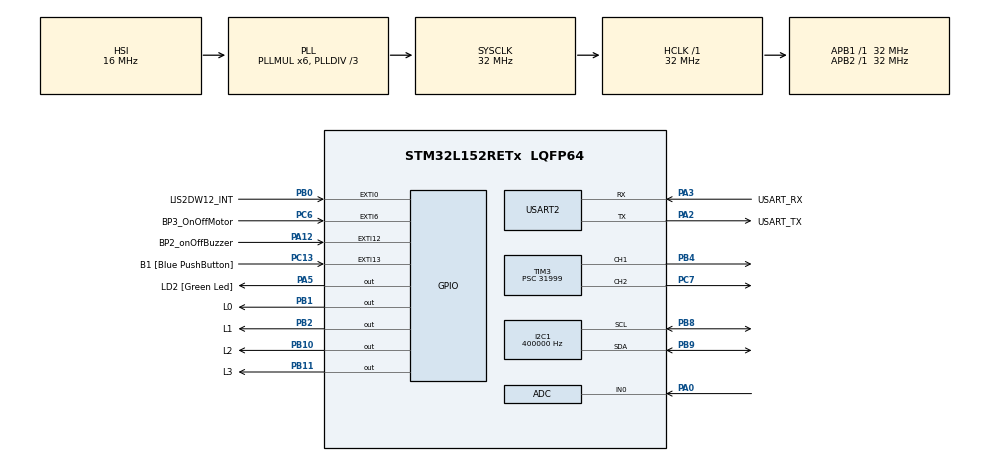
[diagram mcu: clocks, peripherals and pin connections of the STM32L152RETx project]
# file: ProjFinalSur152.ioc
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ADC.Channel-0\#ChannelRegularConversion=ADC_CHANNEL_0
ADC.EnableAnalogWatchDog=true
ADC.HighThreshold=3724
ADC.NbrOfConversionFlag=1
ADC.Rank-0\#ChannelRegularConversion=1
ADC.SamplingTime-0\#ChannelRegularConversion=ADC_SAMPLETIME_4CYCLES
I2C1.ClockSpeed=400000
I2C1.I2C_Mode=I2C_Fast
Mcu.Family=STM32L1
Mcu.Name=STM32L152RETx
Mcu.Package=LQFP64
NVIC.ADC1_IRQn=true\:0\:0\:false\:false\:true\:true\:true\:true
NVIC.EXTI0_IRQn=true\:0\:0\:false\:false\:true\:true\:true\:true
NVIC.EXTI15_10_IRQn=true\:0\:0\:false\:false\:true\:true\:true\:true
NVIC.EXTI9_5_IRQn=true\:0\:0\:false\:false\:true\:true\:true\:true
NVIC.PriorityGroup=NVIC_PRIORITYGROUP_0
NVIC.TIM3_IRQn=true\:0\:0\:false\:false\:true\:true\:true\:true
NVIC.TIM6_IRQn=true\:0\:0\:false\:false\:true\:true\:true\:true
PA0-WKUP1.Mode=IN0
PA0-WKUP1.Signal=ADC_IN0
PA12.GPIO_Label=BP2_onOffBuzzer
PA12.Signal=GPXTI12
PA13.GPIO_Label=TMS
PA13.Mode=Serial_Wire
PA13.Signal=SYS_JTMS-SWDIO
PA14.GPIO_Label=TCK
PA14.Mode=Serial_Wire
PA14.Signal=SYS_JTCK-SWCLK
PA2.GPIO_Label=USART_TX
PA2.Mode=Asynchronous
PA2.Signal=USART2_TX
PA3.GPIO_Label=USART_RX
PA3.Mode=Asynchronous
PA3.Signal=USART2_RX
PA5.GPIO_Label=LD2 [Green Led]
PA5.Signal=GPIO_Output
PB0.GPIO_Label=LIS2DW12_INT
PB0.Signal=GPXTI0
PB1.GPIO_Label=L0
PB1.Signal=GPIO_Output
PB10.GPIO_Label=L2
PB10.Signal=GPIO_Output
PB11.GPIO_Label=L3
PB11.Signal=GPIO_Output
PB2.GPIO_Label=L1
PB2.Signal=GPIO_Output
PB3.GPIO_Label=SWO
PB3.Signal=SYS_JTDO-TRACESWO
PB4.Signal=S_TIM3_CH1
PB8.Mode=I2C
PB8.Signal=I2C1_SCL
PB9.Mode=I2C
PB9.Signal=I2C1_SDA
PC13-WKUP2.GPIO_Label=B1 [Blue PushButton]
PC13-WKUP2.Signal=GPXTI13
PC6.GPIO_Label=BP3_OnOffMotor
PC6.Signal=GPXTI6
PC7.Signal=S_TIM3_CH2
ProjectManager.HeapSize=0x200
ProjectManager.StackSize=0x400
ProjectManager.TargetToolchain=STM32CubeIDE
RCC.48MHZClocksFreq_Value=48000000
RCC.AHBFreq_Value=32000000
RCC.APB1Freq_Value=32000000
RCC.APB1TimFreq_Value=32000000
RCC.APB2Freq_Value=32000000
RCC.APB2TimFreq_Value=32000000
RCC.HCLKFreq_Value=32000000
RCC.HSE_VALUE=8000000
RCC.HSI_VALUE=16000000
RCC.LSE_VALUE=32768
RCC.MSI_VALUE=2097000
RCC.PLLDIV=RCC_PLL_DIV3
RCC.PLLMUL=RCC_PLL_MUL6
RCC.RTCClockSelectionVirtual=RCC_RTCCLKSOURCE_LSE
RCC.SYSCLKFreq_VALUE=32000000
RCC.SYSCLKSource=RCC_SYSCLKSOURCE_PLLCLK
RCC.USBOutput=48000000
RCC.VCOOutputFreq_Value=96000000
SH.S_TIM3_CH1.0=TIM3_CH1,PWM Generation1 CH1
SH.S_TIM3_CH2.0=TIM3_CH2,PWM Generation2 CH2
TIM3.Channel-PWM\ Generation1\ CH1=TIM_CHANNEL_1
TIM3.Channel-PWM\ Generation2\ CH2=TIM_CHANNEL_2
TIM3.OCMode_PWM-PWM\ Generation2\ CH2=TIM_OCMODE_PWM1
TIM3.OCPolarity_2=TIM_OCPOLARITY_LOW
TIM3.Period=4
TIM3.Prescaler=31999
TIM3.Pulse-PWM\ Generation1\ CH1=500
TIM3.Pulse-PWM\ Generation2\ CH2=1
TIM6.Period=199
TIM6.Prescaler=31999
USART2.VirtualMode=VM_ASYNC
VP_TIM3_VS_ClockSourceINT.Mode=Internal
VP_TIM6_VS_ClockSourceINT.Mode=Enable_Timer
board=NUCLEO-L152RE

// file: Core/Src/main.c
/* USER CODE BEGIN Header */

/**
 ******************************************************************************
 * @file           : main.c
 * @brief          : Main program body
 ******************************************************************************
 * @attention
 *
 * Copyright (c) 2025 STMicroelectronics.
 * All rights reserved.
 *
 * This software is licensed under terms that can be found in the LICENSE file
 * in the root directory of this software component.
 * If no LICENSE file comes with this software, it is provided AS-IS.
 *
 ******************************************************************************
 */
/* USER CODE END Header */
#include "main.h"

/* USER CODE BEGIN Includes */
#include <string.h>
#include <stdio.h>
#include "lis2dw12_reg.h"
#include "knowledge.h"
#include "cycle_dwt.h"
#include "NanoEdgeAI.h"
/* USER CODE END Includes */

/* USER CODE BEGIN PD */
/************************************************************ NEAI algorithm defines begin ************************************************************/
/************************************************************ Global settings part ************************************************************/
#ifndef AXIS
#define AXIS              3                       /* Axis should be defined between 1 and 3 */
#endif
#ifndef SAMPLES
#define SAMPLES           128                     /* Should be between 16 & 4096 */
#endif
/************************************************************ Sensors configuration part ************************************************************/
#ifndef ACCELEROMETER_ODR
#define ACCELEROMETER_ODR  LIS2DW12_XL_ODR_400Hz  /* Shoud be between LIS2DW12_XL_ODR_12Hz5 and LIS2DW12_XL_ODR_1k6Hz */
#endif
#ifndef ACCELEROMETER_FS
#define ACCELEROMETER_FS   LIS2DW12_4g            /* Should be between LIS2DW12_2g and LIS2DW12_16g */
#endif
/************************************************************ Datalogger / NEAI mode part ************************************************************/
#ifndef NEAI_MODE
#define NEAI_MODE         1                       /* 0: Datalogger mode, 1: NEAI functions mode */
#endif
//#if (NEAI_MODE == 1)
//  #ifndef NEAI_LEARN_NB
//    #define NEAI_LEARN_NB   20                      /* Number of buffers to be learn by the NEAI library */
//  #endif
#if (NEAI_MODE)
#ifndef NB_CLASSES
#define NB_CLASSES  5/* Number of NEAI classes */
#endif
#endif
/************************************************************ NEAI algorithm defines end ************************************************************/
/* USER CODE END PD */

ADC_HandleTypeDef hadc;

I2C_HandleTypeDef hi2c1;

TIM_HandleTypeDef htim3;
TIM_HandleTypeDef htim6;

UART_HandleTypeDef huart2;

/* USER CODE BEGIN PV */

uint8_t flag_tim3 = 0;
uint8_t motorState = 0;
uint8_t motorOverride = 0;
uint8_t debound_flag = 0;
uint8_t buzzerState = 0;
uint8_t buzzerOverride = 0;
uint32_t digitalValue = 0;
uint8_t valeurLB = 0;

static int16_t data_raw_acceleration[3];
static uint8_t whoamI, rst;
uint8_t neai_similarity = 0, neai_state = 0, first_comm = 1;
uint16_t sample_index = 0, id_class = 0;
volatile uint8_t drdy = 0;
uint16_t neai_cnt = 0, drdy_counter = 0;
float neai_time = 0.0;
float neai_buffer[AXIS * SAMPLES] = { 0 };
stmdev_ctx_t dev_ctx;

#if (NEAI_MODE)
static float class_output_buffer[NB_CLASSES];
const char *id2class[NB_CLASSES + 1] = { "unknown", "vertical", "shake","Immobile", "Horizontale" };
#endif
/* USER CODE END PV */

void SystemClock_Config(void);
static void MX_GPIO_Init(void);
static void MX_USART2_UART_Init(void);
static void MX_I2C1_Init(void);
static void MX_TIM3_Init(void);
static void MX_TIM6_Init(void);
static void MX_ADC_Init(void);
/* USER CODE BEGIN PFP */
static int32_t platform_write(void *handle, uint8_t reg, const uint8_t *bufp,
		uint16_t len);
static int32_t platform_read(void *handle, uint8_t reg, uint8_t *bufp,
		uint16_t len);
static void lis2dw12_initialize(void);
static float lis2dw12_convert_data_to_mg(int16_t accel_raw_data);
static void iks01a3_i2c_stuck_quirk(void);
/* USER CODE END PFP */

/* USER CODE BEGIN 0 */

//RESOLU adc probleme arrete boucle infinie a une certaine value
void adcFunctionXblinking(void) {
	static uint8_t ledState = 0;  // mémorise l'état ON/OFF des LEDs

	HAL_ADC_Start(&hadc);  // Start sans interruption
	HAL_ADC_PollForConversion(&hadc, 100);
	if (HAL_IS_BIT_SET(HAL_ADC_GetState(&hadc), HAL_ADC_STATE_REG_EOC)) {
		digitalValue = HAL_ADC_GetValue(&hadc);
	}
	HAL_ADC_Stop(&hadc);  // Stop propre

	printf("Digital value: %lu\r\n", digitalValue);

	// Alternance ON/OFF
	ledState = !ledState;

	// L0 reste allumée si digitalValue > 0
	HAL_GPIO_WritePin(L0_GPIO_Port, L0_Pin,
			(digitalValue > 0) ? GPIO_PIN_SET : GPIO_PIN_RESET);

	// Clignotement de L1
	if (digitalValue > 2000) {
		HAL_GPIO_WritePin(L1_GPIO_Port, L1_Pin,
				(ledState) ? GPIO_PIN_SET : GPIO_PIN_RESET);
	} else {
		HAL_GPIO_WritePin(L1_GPIO_Port, L1_Pin, GPIO_PIN_RESET);
	}

	// Délai pour rendre le clignotement visible
	HAL_Delay(200);
}

void buzzer(uint8_t buzzerState) {
	if (buzzerState) {
		printf("buzzer on \r\n");
		HAL_TIM_PWM_Start_IT(&htim3, TIM_CHANNEL_2);
	} else if (!buzzerState) {
		printf("buzzer OFF \r\n");
		HAL_TIM_PWM_Stop_IT(&htim3, TIM_CHANNEL_2);
	}
}

void motor(uint8_t motorState) {
	if (motorState) {
		HAL_TIM_PWM_Start_IT(&htim3, TIM_CHANNEL_1);
		printf("Motor ON \r\n");
	} else {
		HAL_TIM_PWM_Stop_IT(&htim3, TIM_CHANNEL_1);
		printf("Motor OFF \r\n");
	}
}

void TIM3_IRQ(void) {
	HAL_GPIO_TogglePin(L1_GPIO_Port, L1_Pin);
	if (flag_tim3) {
		flag_tim3 = 0;
	} else {
		flag_tim3 = 1;
	}

}

/* USER CODE END 0 */

int main(void)
{

  /* USER CODE BEGIN 1 */
	/* Initialize mems driver interface */
	dev_ctx.write_reg = platform_write;
	dev_ctx.read_reg = platform_read;
	dev_ctx.handle = &hi2c1;
  /* USER CODE END 1 */

  /* MCU Configuration--------------------------------------------------------*/

  /* Reset of all peripherals, Initializes the Flash interface and the Systick. */
  HAL_Init();

  /* Configure the system clock */
  SystemClock_Config();

  /* USER CODE BEGIN SysInit */
	iks01a3_i2c_stuck_quirk();
  /* USER CODE END SysInit */

  /* Initialize all configured peripherals */
  MX_GPIO_Init();
  MX_USART2_UART_Init();
  MX_I2C1_Init();
  MX_TIM3_Init();
  MX_TIM6_Init();
  MX_ADC_Init();
  /* USER CODE BEGIN 2 */
	KIN1_InitCycleCounter();
	KIN1_EnableCycleCounter();
	HAL_TIM_Base_Start_IT(&htim3);
	printf("FINAL Timer 3 enabled\r\n");

	lis2dw12_initialize();
	if (NEAI_MODE) {
		neai_state = neai_classification_init(knowledge);
		printf("Initialize NEAI library. NEAI init return: %d.\n", neai_state);
	}
  /* USER CODE END 2 */

  /* Infinite loop */
  /* USER CODE BEGIN WHILE */
	while (1) {

		if (drdy) {
			/* Reset data ready condition */
			drdy = 0;
			/* Read acceleration data */
			memset(data_raw_acceleration, 0x00, 3 * sizeof(int16_t));
			lis2dw12_acceleration_raw_get(&dev_ctx, data_raw_acceleration);
			for (uint8_t i = 0; i < AXIS; i++) {
				neai_buffer[(AXIS * drdy_counter) + i] =
						lis2dw12_convert_data_to_mg(data_raw_acceleration[i]);
			}
			drdy_counter++;
			if (drdy_counter >= SAMPLES) {
				/* Set Output Data Rate */
				lis2dw12_data_rate_set(&dev_ctx, LIS2DW12_XL_ODR_OFF);
#if NEAI_MODE
				neai_state = neai_classification(neai_buffer,
						class_output_buffer, &id_class);
				printf("Class: %s. NEAI classification return: %d.\r\n",
						id2class[id_class], neai_state);

				if (strcmp(id2class[id_class], "Horizontale") == 0) {

					printf("OK HORIZON.\r\n");

					if (!motorOverride) {
						motorState = 1;
						motor(motorState);
					}

					if (!buzzerOverride) {
						buzzerState = 1;
						buzzer(buzzerState);
					}

				}

				else if (strcmp(id2class[id_class], "Immobile") == 0) {
					printf("OK IMMOBILE.\r\n");

					if (!motorOverride) {
						motorState = 0;
						motor(motorState);
					}

					if (!buzzerOverride) {
						buzzerState = 0;
						buzzer(buzzerState);
					}

					adcFunctionXblinking();
				}

				else if (strcmp(id2class[id_class], "vertical") == 0) {

					printf("OK vertical.\r\n");
					if (!motorOverride) {
						motorState = 1;
						motor(motorState);
					}

					if (!buzzerOverride) {
						buzzerState = 0;
						buzzer(buzzerState);
					}

				}

				else if (strcmp(id2class[id_class], "shake") == 0) {

					printf("OK shake.\r\n");
					if (!motorOverride) {
						motorState = 0;
						motor(motorState);
					}

					if (!buzzerOverride) {
						buzzerState = 1;
						buzzer(buzzerState);
					}
					switchLedAll();

				}

#else
        for (uint16_t i = 0; i < AXIS * SAMPLES; i++) {
          printf("%.3f ", neai_buffer[i]);
        }
        printf("\n");
#endif
				/* Reset drdy_counter in order to get a new buffer */
				drdy_counter = 0;
				/* Clean neai buffer */
				memset(neai_buffer, 0x00, AXIS * SAMPLES * sizeof(float));
				/* Set Output Data Rate */
				lis2dw12_data_rate_set(&dev_ctx, ACCELEROMETER_ODR);
			}
		}
    /* USER CODE END WHILE */

	}
}

void SystemClock_Config(void)
{
  RCC_OscInitTypeDef RCC_OscInitStruct = {0};
  RCC_ClkInitTypeDef RCC_ClkInitStruct = {0};

  /** Configure the main internal regulator output voltage
  */
  __HAL_PWR_VOLTAGESCALING_CONFIG(PWR_REGULATOR_VOLTAGE_SCALE1);

  /** Initializes the RCC Oscillators according to the specified parameters
  * in the RCC_OscInitTypeDef structure.
  */
  RCC_OscInitStruct.OscillatorType = RCC_OSCILLATORTYPE_HSI;
  RCC_OscInitStruct.HSIState = RCC_HSI_ON;
  RCC_OscInitStruct.HSICalibrationValue = RCC_HSICALIBRATION_DEFAULT;
  RCC_OscInitStruct.PLL.PLLState = RCC_PLL_ON;
  RCC_OscInitStruct.PLL.PLLSource = RCC_PLLSOURCE_HSI;
  RCC_OscInitStruct.PLL.PLLMUL = RCC_PLL_MUL6;
  RCC_OscInitStruct.PLL.PLLDIV = RCC_PLL_DIV3;
  if (HAL_RCC_OscConfig(&RCC_OscInitStruct) != HAL_OK)
  {
    Error_Handler();
  }

  /** Initializes the CPU, AHB and APB buses clocks
  */
  RCC_ClkInitStruct.ClockType = RCC_CLOCKTYPE_HCLK|RCC_CLOCKTYPE_SYSCLK
                              |RCC_CLOCKTYPE_PCLK1|RCC_CLOCKTYPE_PCLK2;
  RCC_ClkInitStruct.SYSCLKSource = RCC_SYSCLKSOURCE_PLLCLK;
  RCC_ClkInitStruct.AHBCLKDivider = RCC_SYSCLK_DIV1;
  RCC_ClkInitStruct.APB1CLKDivider = RCC_HCLK_DIV1;
  RCC_ClkInitStruct.APB2CLKDivider = RCC_HCLK_DIV1;

  if (HAL_RCC_ClockConfig(&RCC_ClkInitStruct, FLASH_LATENCY_1) != HAL_OK)
  {
    Error_Handler();
  }
}

static void MX_ADC_Init(void)
{

  ADC_AnalogWDGConfTypeDef AnalogWDGConfig = {0};
  ADC_ChannelConfTypeDef sConfig = {0};

  /** Configure the global features of the ADC (Clock, Resolution, Data Alignment and number of conversion)
  */
  hadc.Instance = ADC1;
  hadc.Init.ClockPrescaler = ADC_CLOCK_ASYNC_DIV1;
  hadc.Init.Resolution = ADC_RESOLUTION_12B;
  hadc.Init.DataAlign = ADC_DATAALIGN_RIGHT;
  hadc.Init.ScanConvMode = ADC_SCAN_DISABLE;
  hadc.Init.EOCSelection = ADC_EOC_SEQ_CONV;
  hadc.Init.LowPowerAutoWait = ADC_AUTOWAIT_DISABLE;
  hadc.Init.LowPowerAutoPowerOff = ADC_AUTOPOWEROFF_DISABLE;
  hadc.Init.ChannelsBank = ADC_CHANNELS_BANK_A;
  hadc.Init.ContinuousConvMode = DISABLE;
  hadc.Init.NbrOfConversion = 1;
  hadc.Init.DiscontinuousConvMode = DISABLE;
  hadc.Init.ExternalTrigConv = ADC_SOFTWARE_START;
  hadc.Init.ExternalTrigConvEdge = ADC_EXTERNALTRIGCONVEDGE_NONE;
  hadc.Init.DMAContinuousRequests = DISABLE;
  if (HAL_ADC_Init(&hadc) != HAL_OK)
  {
    Error_Handler();
  }

  /** Configure the analog watchdog
  */
  AnalogWDGConfig.WatchdogMode = ADC_ANALOGWATCHDOG_SINGLE_REG;
  AnalogWDGConfig.Channel = ADC_CHANNEL_0;
  AnalogWDGConfig.ITMode = DISABLE;
  AnalogWDGConfig.HighThreshold = 3724;
  AnalogWDGConfig.LowThreshold = 0;
  if (HAL_ADC_AnalogWDGConfig(&hadc, &AnalogWDGConfig) != HAL_OK)
  {
    Error_Handler();
  }

  /** Configure for the selected ADC regular channel its corresponding rank in the sequencer and its sample time.
  */
  sConfig.Channel = ADC_CHANNEL_0;
  sConfig.Rank = ADC_REGULAR_RANK_1;
  sConfig.SamplingTime = ADC_SAMPLETIME_4CYCLES;
  if (HAL_ADC_ConfigChannel(&hadc, &sConfig) != HAL_OK)
  {
    Error_Handler();
  }

}

static void MX_I2C1_Init(void)
{

  hi2c1.Instance = I2C1;
  hi2c1.Init.ClockSpeed = 400000;
  hi2c1.Init.DutyCycle = I2C_DUTYCYCLE_2;
  hi2c1.Init.OwnAddress1 = 0;
  hi2c1.Init.AddressingMode = I2C_ADDRESSINGMODE_7BIT;
  hi2c1.Init.DualAddressMode = I2C_DUALADDRESS_DISABLE;
  hi2c1.Init.OwnAddress2 = 0;
  hi2c1.Init.GeneralCallMode = I2C_GENERALCALL_DISABLE;
  hi2c1.Init.NoStretchMode = I2C_NOSTRETCH_DISABLE;
  if (HAL_I2C_Init(&hi2c1) != HAL_OK)
  {
    Error_Handler();
  }

}

static void MX_TIM3_Init(void)
{

  TIM_ClockConfigTypeDef sClockSourceConfig = {0};
  TIM_MasterConfigTypeDef sMasterConfig = {0};
  TIM_OC_InitTypeDef sConfigOC = {0};

  htim3.Instance = TIM3;
  htim3.Init.Prescaler = 31999;
  htim3.Init.CounterMode = TIM_COUNTERMODE_UP;
  htim3.Init.Period = 4;
  htim3.Init.ClockDivision = TIM_CLOCKDIVISION_DIV1;
  htim3.Init.AutoReloadPreload = TIM_AUTORELOAD_PRELOAD_DISABLE;
  if (HAL_TIM_Base_Init(&htim3) != HAL_OK)
  {
    Error_Handler();
  }
  sClockSourceConfig.ClockSource = TIM_CLOCKSOURCE_INTERNAL;
  if (HAL_TIM_ConfigClockSource(&htim3, &sClockSourceConfig) != HAL_OK)
  {
    Error_Handler();
  }
  if (HAL_TIM_PWM_Init(&htim3) != HAL_OK)
  {
    Error_Handler();
  }
  sMasterConfig.MasterOutputTrigger = TIM_TRGO_RESET;
  sMasterConfig.MasterSlaveMode = TIM_MASTERSLAVEMODE_DISABLE;
  if (HAL_TIMEx_MasterConfigSynchronization(&htim3, &sMasterConfig) != HAL_OK)
  {
    Error_Handler();
  }
  sConfigOC.OCMode = TIM_OCMODE_PWM1;
  sConfigOC.Pulse = 500;
  sConfigOC.OCPolarity = TIM_OCPOLARITY_HIGH;
  sConfigOC.OCFastMode = TIM_OCFAST_DISABLE;
  if (HAL_TIM_PWM_ConfigChannel(&htim3, &sConfigOC, TIM_CHANNEL_1) != HAL_OK)
  {
    Error_Handler();
  }
  sConfigOC.Pulse = 1;
  sConfigOC.OCPolarity = TIM_OCPOLARITY_LOW;
  if (HAL_TIM_PWM_ConfigChannel(&htim3, &sConfigOC, TIM_CHANNEL_2) != HAL_OK)
  {
    Error_Handler();
  }
  HAL_TIM_MspPostInit(&htim3);

}

static void MX_TIM6_Init(void)
{

  TIM_MasterConfigTypeDef sMasterConfig = {0};

  htim6.Instance = TIM6;
  htim6.Init.Prescaler = 31999;
  htim6.Init.CounterMode = TIM_COUNTERMODE_UP;
  htim6.Init.Period = 199;
  htim6.Init.AutoReloadPreload = TIM_AUTORELOAD_PRELOAD_DISABLE;
  if (HAL_TIM_Base_Init(&htim6) != HAL_OK)
  {
    Error_Handler();
  }
  sMasterConfig.MasterOutputTrigger = TIM_TRGO_RESET;
  sMasterConfig.MasterSlaveMode = TIM_MASTERSLAVEMODE_DISABLE;
  if (HAL_TIMEx_MasterConfigSynchronization(&htim6, &sMasterConfig) != HAL_OK)
  {
    Error_Handler();
  }

}

static void MX_USART2_UART_Init(void)
{

  huart2.Instance = USART2;
  huart2.Init.BaudRate = 115200;
  huart2.Init.WordLength = UART_WORDLENGTH_8B;
  huart2.Init.StopBits = UART_STOPBITS_1;
  huart2.Init.Parity = UART_PARITY_NONE;
  huart2.Init.Mode = UART_MODE_TX_RX;
  huart2.Init.HwFlowCtl = UART_HWCONTROL_NONE;
  huart2.Init.OverSampling = UART_OVERSAMPLING_16;
  if (HAL_UART_Init(&huart2) != HAL_OK)
  {
    Error_Handler();
  }

}

static void MX_GPIO_Init(void)
{
  GPIO_InitTypeDef GPIO_InitStruct = {0};

  /* GPIO Ports Clock Enable */
  __HAL_RCC_GPIOC_CLK_ENABLE();
  __HAL_RCC_GPIOA_CLK_ENABLE();
  __HAL_RCC_GPIOB_CLK_ENABLE();

  /*Configure GPIO pin Output Level */
  HAL_GPIO_WritePin(LD2_GPIO_Port, LD2_Pin, GPIO_PIN_RESET);

  /*Configure GPIO pin Output Level */
  HAL_GPIO_WritePin(GPIOB, L0_Pin|L1_Pin|L2_Pin|L3_Pin, GPIO_PIN_RESET);

  /*Configure GPIO pins : B1_Pin BP3_OnOffMotor_Pin */
  GPIO_InitStruct.Pin = B1_Pin|BP3_OnOffMotor_Pin;
  GPIO_InitStruct.Mode = GPIO_MODE_IT_RISING;
  GPIO_InitStruct.Pull = GPIO_NOPULL;
  HAL_GPIO_Init(GPIOC, &GPIO_InitStruct);

  /*Configure GPIO pin : LD2_Pin */
  GPIO_InitStruct.Pin = LD2_Pin;
  GPIO_InitStruct.Mode = GPIO_MODE_OUTPUT_PP;
  GPIO_InitStruct.Pull = GPIO_NOPULL;
  GPIO_InitStruct.Speed = GPIO_SPEED_FREQ_LOW;
  HAL_GPIO_Init(LD2_GPIO_Port, &GPIO_InitStruct);

  /*Configure GPIO pin : LIS2DW12_INT_Pin */
  GPIO_InitStruct.Pin = LIS2DW12_INT_Pin;
  GPIO_InitStruct.Mode = GPIO_MODE_IT_RISING;
  GPIO_InitStruct.Pull = GPIO_NOPULL;
  HAL_GPIO_Init(LIS2DW12_INT_GPIO_Port, &GPIO_InitStruct);

  /*Configure GPIO pins : L0_Pin L1_Pin L2_Pin L3_Pin */
  GPIO_InitStruct.Pin = L0_Pin|L1_Pin|L2_Pin|L3_Pin;
  GPIO_InitStruct.Mode = GPIO_MODE_OUTPUT_PP;
  GPIO_InitStruct.Pull = GPIO_NOPULL;
  GPIO_InitStruct.Speed = GPIO_SPEED_FREQ_LOW;
  HAL_GPIO_Init(GPIOB, &GPIO_InitStruct);

  /*Configure GPIO pin : BP2_onOffBuzzer_Pin */
  GPIO_InitStruct.Pin = BP2_onOffBuzzer_Pin;
  GPIO_InitStruct.Mode = GPIO_MODE_IT_RISING;
  GPIO_InitStruct.Pull = GPIO_NOPULL;
  HAL_GPIO_Init(BP2_onOffBuzzer_GPIO_Port, &GPIO_InitStruct);

  /* EXTI interrupt init*/
  HAL_NVIC_SetPriority(EXTI0_IRQn, 0, 0);
  HAL_NVIC_EnableIRQ(EXTI0_IRQn);

  HAL_NVIC_SetPriority(EXTI9_5_IRQn, 0, 0);
  HAL_NVIC_EnableIRQ(EXTI9_5_IRQn);

  HAL_NVIC_SetPriority(EXTI15_10_IRQn, 0, 0);
  HAL_NVIC_EnableIRQ(EXTI15_10_IRQn);

}

/* USER CODE BEGIN 4 */
/**
 * @brief  Redirecting stdout to USART2 which is connected on the STLINK port
 * @retval
 * @param
 */
int __io_putchar(int ch) {
	uint8_t c[1];
	c[0] = ch & 0x00FF;
	HAL_UART_Transmit(&huart2, &*c, 1, 10);
	return ch;
}

void switchLedAll(void) {
	HAL_GPIO_TogglePin(L0_GPIO_Port, L0_Pin);
	HAL_GPIO_TogglePin(L1_GPIO_Port, L1_Pin);
}

/**
 * @brief  EXTI line rising detection callback.
 * @param  GPIO_Pin Specifies the port pin connected to corresponding EXTI line.
 * @retval None
 */

void HAL_GPIO_EXTI_Callback(uint16_t GPIO_Pin) {
	if (GPIO_Pin == BP2_onOffBuzzer_Pin) {
		if (!debound_flag) {
			debound_flag = 1;
			__HAL_TIM_SET_COUNTER(&htim6, 0);
			HAL_TIM_Base_Start_IT(&htim6);

			buzzerOverride = 1;               // activer override
			buzzerState = !buzzerState;       // inverser l'état
			buzzer(buzzerState);
			printf("!!!! Buzzer toggled via button: %d !!!!\r\n", buzzerState);
		}
	}

	if (GPIO_Pin == BP3_OnOffMotor_Pin) {
		if (!debound_flag) {
			debound_flag = 1;
			__HAL_TIM_SET_COUNTER(&htim6, 0);
			HAL_TIM_Base_Start_IT(&htim6);

			motorOverride = 1;
			motorState = !motorState;
			motor(motorState);
			printf("!!!! Motor toggled via button: %d!!!! \r\n", motorState);
		}
	}

	switch (GPIO_Pin) {
	case LIS2DW12_INT_Pin:
		drdy = 1;
		break;
	}
}

/*
 * @brief  Write generic device register (platform dependent)
 *
 * @param  handle    customizable argument. In this examples is used in
 *                   order to select the correct sensor bus handler.
 * @param  reg       register to write
 * @param  bufp      pointer to data to write in register reg
 * @param  len       number of consecutive register to write
 *
 */
static int32_t platform_write(void *handle, uint8_t reg, const uint8_t *bufp,
		uint16_t len) {
	HAL_I2C_Mem_Write(handle, LIS2DW12_I2C_ADD_H, reg, I2C_MEMADD_SIZE_8BIT,
			(uint8_t*) bufp, len, 1000);
	return 0;
}

/*
 * @brief  Read generic device register (platform dependent)
 *
 * @param  handle    customizable argument. In this examples is used in
 *                   order to select the correct sensor bus handler.
 * @param  reg       register to read
 * @param  bufp      pointer to buffer that store the data read
 * @param  len       number of consecutive register to read
 *
 */
static int32_t platform_read(void *handle, uint8_t reg, uint8_t *bufp,
		uint16_t len) {
	HAL_I2C_Mem_Read(handle, LIS2DW12_I2C_ADD_H, reg, I2C_MEMADD_SIZE_8BIT,
			bufp, len, 1000);
	return 0;
}

/*
 * @brief  Initialize LIS2DW12 sensor interface
 *
 * @param  No
 *
 * @return No
 *
 */
static void lis2dw12_initialize() {
	/* Check device ID */
	whoamI = 0;

	do {
		HAL_Delay(20);
		lis2dw12_device_id_get(&dev_ctx, &whoamI);
	} while (whoamI != LIS2DW12_ID);

	/* Restore default configuration */
	lis2dw12_reset_set(&dev_ctx, PROPERTY_ENABLE);

	do {
		lis2dw12_reset_get(&dev_ctx, &rst);
	} while (rst);

	/* Enable Block Data Update */
	lis2dw12_block_data_update_set(&dev_ctx, PROPERTY_ENABLE);
	/* Set full scale */
	lis2dw12_full_scale_set(&dev_ctx, ACCELEROMETER_FS);
	/* Configure power mode */
	lis2dw12_power_mode_set(&dev_ctx, LIS2DW12_HIGH_PERFORMANCE);
	/* Set Output Data Rate */
	lis2dw12_data_rate_set(&dev_ctx, ACCELEROMETER_ODR);
	/* Data-ready routed on INT1 pin */
	lis2dw12_ctrl4_int1_pad_ctrl_t int1_conf = { 0 };
	int1_conf.int1_drdy = PROPERTY_ENABLE;
	lis2dw12_pin_int1_route_set(&dev_ctx, &int1_conf);
	/* Read data to avoid bug at boot/reset du to the interrupt */
	lis2dw12_acceleration_raw_get(&dev_ctx, data_raw_acceleration);
}

/*
 * @brief  Convert accelerometer raw data to milli-G' (mg)
 *
 * @param  accel_raw_data: which is accelerometer raw data
 *                        depending on the full scale selected
 *
 * @return The converted value in milli-G' (mg)
 *
 */
static float lis2dw12_convert_data_to_mg(int16_t accel_raw_data) {
	float accel_data_mg = 0.0;
	switch (ACCELEROMETER_FS) {
	case LIS2DW12_2g:
		accel_data_mg = lis2dw12_from_fs2_to_mg(accel_raw_data);
		break;
	case LIS2DW12_4g:
		accel_data_mg = lis2dw12_from_fs4_to_mg(accel_raw_data);
		break;
	case LIS2DW12_8g:
		accel_data_mg = lis2dw12_from_fs8_to_mg(accel_raw_data);
		break;
	case LIS2DW12_16g:
		accel_data_mg = lis2dw12_from_fs16_to_mg(accel_raw_data);
		break;
	default:
		accel_data_mg = 0.0;
		break;
	}
	return accel_data_mg;
}

/*
 * Pressing the reset button while the sensor is answering to a read request
 * might lead to disaster.
 * In this case the device is stuck, waiting for pulses on SCL to finish the
 * previous transfer.
 * While stuck the sensor keep the SDA low.
 *
 * As a workaround we simply configure the SCL pin as a GPIO and send a burst
 * of pulses to bring the sensor back to an idle state.
 */
static void iks01a3_i2c_stuck_quirk(void) {
	GPIO_InitTypeDef GPIO_InitStruct = { 0 };

	/* GPIO Ports Clock Enable */
	__HAL_RCC_GPIOB_CLK_ENABLE();

	/* Configure SCL as a GPIO */
	GPIO_InitStruct.Pin = SCL_PIN;
	GPIO_InitStruct.Mode = GPIO_MODE_OUTPUT_PP;
	GPIO_InitStruct.Pull = GPIO_NOPULL;
	GPIO_InitStruct.Speed = GPIO_SPEED_FREQ_LOW;
	GPIO_InitStruct.Alternate = GPIO_AF4_I2C1;
	HAL_GPIO_Init(SCL_PORT, &GPIO_InitStruct);

	/* Send a burst of pulses on SCL */
	int pulses = 20;
	do {
		HAL_Delay(1);
		HAL_GPIO_WritePin(SCL_PORT, SCL_PIN, GPIO_PIN_RESET);
		HAL_Delay(1);
		HAL_GPIO_WritePin(SCL_PORT, SCL_PIN, GPIO_PIN_SET);
	} while (pulses--);

	/* GPIO Ports Clock Enable */
	__HAL_RCC_GPIOB_CLK_DISABLE();
}

/* USER CODE END 4 */

void Error_Handler(void)
{
	__disable_irq();
	while (1) {
	}
}
